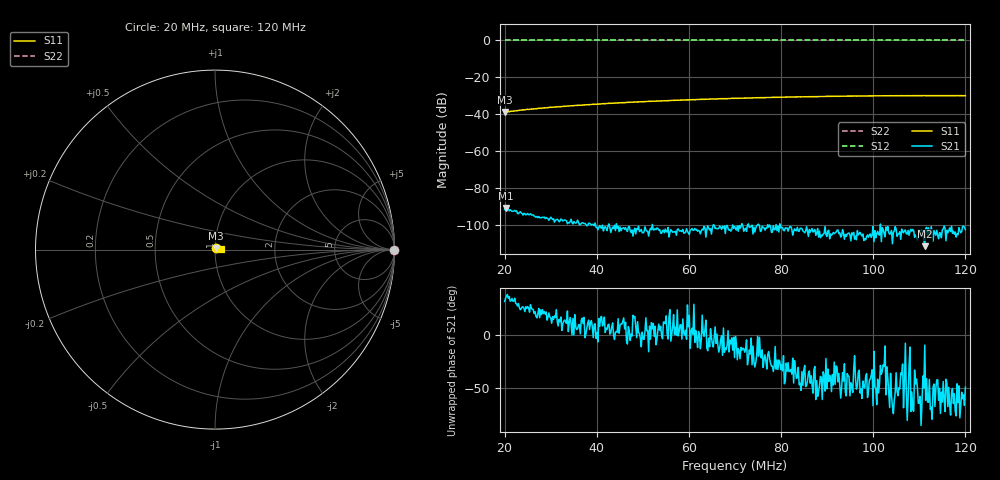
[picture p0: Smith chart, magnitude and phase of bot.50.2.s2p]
! Anritsu VNA Master:  Model: MS2036C/10/77
! SN:  1601066
! /bd0/18may08.cable.cal/bot.50.2.s2p
! Existing Calibration Information:
! TYPE:  Current Settings,  Active Cal Settings
! TIME:  05/08/2018 06:09:48 PM,  05/08/2018 05:57:55 PM
! INTERNAL TEMP:  49.3 C,  49.3 C
! # POINTS:  500,  500
! START FREQ:  20.000 MHz,  20.000 MHz
! STOP FREQ:  120.000 MHz,  120.000 MHz
! SOURCE POWER:  High,  High
! IFBW:  50 Hz,  50 Hz
! AVG FACTOR:  1 ,  1
! REF PLANE 1:  0 mm,  0 mm
! REF PLANE 2:  0 mm,  0 mm
! CAL TYPE:  Full S11,  Full S11
! CAL METHOD:  SOLT,  SOLT
! CAL LINE TYPE:  Coax,  Coax
! DUT PORT 1:  K-Conn(F),  K-Conn(F)
! DUT PORT 2:  K-Conn(F),  K-Conn(F)
! CAL STATUS:  OK: Accuracy High,  --
# GHZ S DB R 50.0
! FREQ.GHZ  S11DB  S11A  S21DB  S21A  S12DB  S12A  S22DB  S22A
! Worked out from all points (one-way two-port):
!   500 points, 20 MHz to 120 MHz, reference 50 ohm
!   highest |S21| = -90.78 dB at 20.2 MHz (marker M1); lowest = -111.5 dB at 111.2 MHz (marker M2)
!   lowest |S11| = -38.8 dB at 20 MHz (marker M3), VSWR 1.02, Z = 50.6 + j0.978 ohm
!   |S11| at or under -10 dB: start of sweep to end of sweep
!   |S22| runs from 0.0 to 0.0 dB; largest |S21 - S12| = 1
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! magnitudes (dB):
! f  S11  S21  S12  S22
! 20 MHz  -38.8  -91.6  0.0  0.0
! 20.2 MHz  -38.8  -90.8  0.0  0.0
! 24.01 MHz  -37.6  -94.6  0.0  0.0
! 27.41 MHz  -36.8  -95.3  0.0  0.0
! 31.02 MHz  -36.1  -97.4  0.0  0.0
! 35.43 MHz  -35.2  -99.0  0.0  0.0
! 36.83 MHz  -35.1  -98.8  0.0  0.0
! 38.24 MHz  -34.8  -99.0  0.0  0.0
! 40.44 MHz  -34.5  -101.3  0.0  0.0
! 41.44 MHz  -34.3  -103.2  0.0  0.0
! 46.85 MHz  -33.5  -101.2  0.0  0.0
! 53.47 MHz  -32.8  -102.8  0.0  0.0
! 56.27 MHz  -32.5  -103.2  0.0  0.0
! 61.08 MHz  -32.1  -102.8  0.0  0.0
! 70.1 MHz  -31.4  -101.9  0.0  0.0
! 79.32 MHz  -30.8  -100.6  0.0  0.0
! 86.73 MHz  -30.4  -101.9  0.0  0.0
! 94.15 MHz  -30.2  -106.2  0.0  0.0
! 103.4 MHz  -29.9  -104.2  0.0  0.0
! 111.2 MHz  -29.9  -111.5  0.0  0.0
! 116 MHz  -29.8  -102.8  0.0  0.0
! 120 MHz  -29.9  -102.6  0.0  0.0
